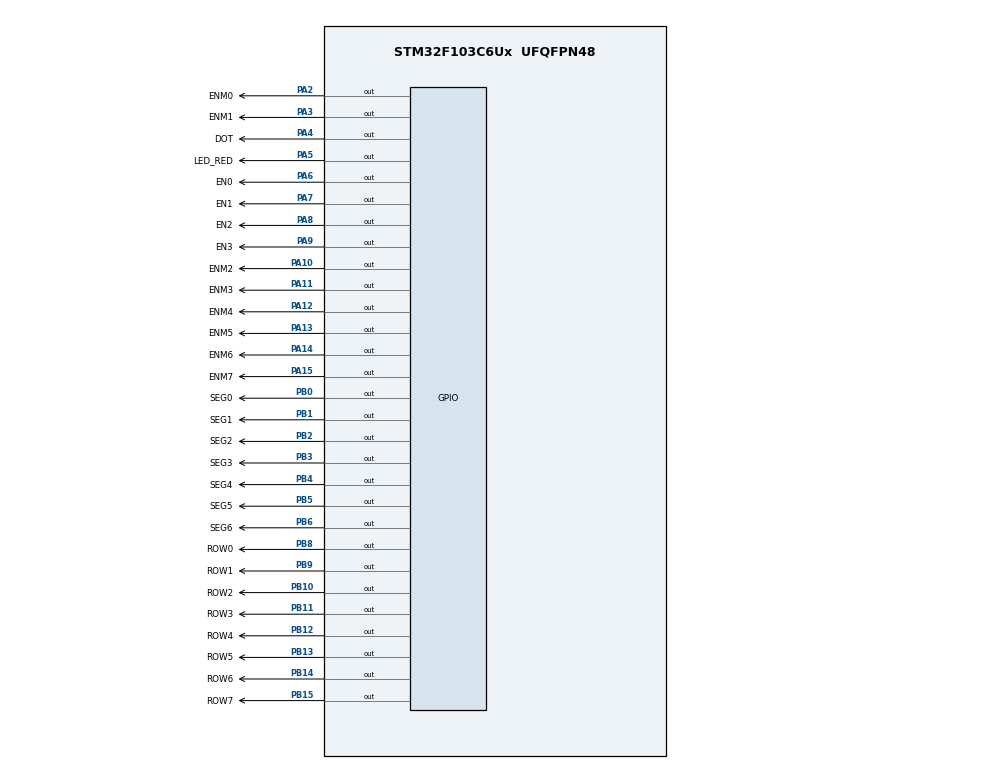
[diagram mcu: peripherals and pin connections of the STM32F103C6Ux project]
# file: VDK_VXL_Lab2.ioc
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Mcu.Family=STM32F1
Mcu.Name=STM32F103C6Ux
Mcu.Package=UFQFPN48
NVIC.PriorityGroup=NVIC_PRIORITYGROUP_4
NVIC.TIM2_IRQn=true\:0\:0\:false\:false\:true\:true\:true
PA10.GPIO_Label=ENM2
PA10.Signal=GPIO_Output
PA11.GPIO_Label=ENM3
PA11.Signal=GPIO_Output
PA12.GPIO_Label=ENM4
PA12.Signal=GPIO_Output
PA13.GPIO_Label=ENM5
PA13.Signal=GPIO_Output
PA14.GPIO_Label=ENM6
PA14.Signal=GPIO_Output
PA15.GPIO_Label=ENM7
PA15.Signal=GPIO_Output
PA2.GPIO_Label=ENM0
PA2.Signal=GPIO_Output
PA3.GPIO_Label=ENM1
PA3.Signal=GPIO_Output
PA4.GPIO_Label=DOT
PA4.Signal=GPIO_Output
PA5.GPIO_Label=LED_RED
PA5.Signal=GPIO_Output
PA6.GPIO_Label=EN0
PA6.Signal=GPIO_Output
PA7.GPIO_Label=EN1
PA7.Signal=GPIO_Output
PA8.GPIO_Label=EN2
PA8.Signal=GPIO_Output
PA9.GPIO_Label=EN3
PA9.Signal=GPIO_Output
PB0.GPIO_Label=SEG0
PB0.Signal=GPIO_Output
PB1.GPIO_Label=SEG1
PB1.Signal=GPIO_Output
PB10.GPIO_Label=ROW2
PB10.Signal=GPIO_Output
PB11.GPIO_Label=ROW3
PB11.Signal=GPIO_Output
PB12.GPIO_Label=ROW4
PB12.Signal=GPIO_Output
PB13.GPIO_Label=ROW5
PB13.Signal=GPIO_Output
PB14.GPIO_Label=ROW6
PB14.Signal=GPIO_Output
PB15.GPIO_Label=ROW7
PB15.Signal=GPIO_Output
PB2.GPIO_Label=SEG2
PB2.Signal=GPIO_Output
PB3.GPIO_Label=SEG3
PB3.Signal=GPIO_Output
PB4.GPIO_Label=SEG4
PB4.Signal=GPIO_Output
PB5.GPIO_Label=SEG5
PB5.Signal=GPIO_Output
PB6.GPIO_Label=SEG6
PB6.Signal=GPIO_Output
PB8.GPIO_Label=ROW0
PB8.Signal=GPIO_Output
PB9.GPIO_Label=ROW1
PB9.Signal=GPIO_Output
ProjectManager.HeapSize=0x200
ProjectManager.StackSize=0x400
ProjectManager.TargetToolchain=STM32CubeIDE
RCC.APB1Freq_Value=8000000
RCC.APB2Freq_Value=8000000
TIM2.Period=9 
TIM2.Prescaler=7999
VP_SYS_VS_ND.Mode=No_Debug
VP_TIM2_VS_ClockSourceINT.Mode=Internal
board=custom

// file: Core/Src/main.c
/* USER CODE BEGIN Header */
/**
  ******************************************************************************
  * @file           : main.c
  * @brief          : Main program body
  ******************************************************************************
  * @attention
  *
  * <h2><center>&copy; Copyright (c) 2025 STMicroelectronics.
  * All rights reserved.</center></h2>
  *
  * This software component is licensed by ST under BSD 3-Clause license,
  * the "License"; You may not use this file except in compliance with the
  * License. You may obtain a copy of the License at:
  *                        opensource.org/licenses/BSD-3-Clause
  *
  ******************************************************************************
  */
/* USER CODE END Header */
#include "main.h"

TIM_HandleTypeDef htim2;

void SystemClock_Config(void);
static void MX_GPIO_Init(void);
static void MX_TIM2_Init(void);

/* USER CODE BEGIN 0 */
void display7SEG(int num){
	if(num == 0){
		GPIOB -> ODR &= 0xff00;
		GPIOB -> ODR |= 0x0040;
	}
	if(num == 1){
		GPIOB -> ODR &= 0xff00;
		GPIOB -> ODR |= 0x0079;
	}
	if(num == 2){
		GPIOB -> ODR &= 0xff00;
		GPIOB -> ODR |= 0x0024;
	}
	if(num == 3){
		GPIOB -> ODR &= 0xff00;
		GPIOB -> ODR |= 0x0030;
	}
	if(num == 4){
		GPIOB -> ODR &= 0xff00;
		GPIOB -> ODR |= 0x0019;
	}
	if(num == 5){
		GPIOB -> ODR &= 0xff00;
		GPIOB -> ODR |= 0x0012;
	}
	if(num == 6){
		GPIOB -> ODR &= 0xff00;
		GPIOB -> ODR |= 0x0002;
	}
	if(num == 7){
		GPIOB -> ODR &= 0xff00;
		GPIOB -> ODR |= 0x0078;
	}
	if(num == 8){
		GPIOB -> ODR &= 0xff00;
		GPIOB -> ODR |= 0x0080;
	}
	if(num == 9){
		GPIOB -> ODR &= 0xff00;
		GPIOB -> ODR |= 0x0090;
	}
}
/* USER CODE END 0 */

int main(void)
{

  /* MCU Configuration--------------------------------------------------------*/

  /* Reset of all peripherals, Initializes the Flash interface and the Systick. */
  HAL_Init();

  /* Configure the system clock */
  SystemClock_Config();

  /* Initialize all configured peripherals */
  MX_GPIO_Init();
  MX_TIM2_Init();
  /* USER CODE BEGIN 2 */
  HAL_TIM_Base_Start_IT(&htim2);

  /* USER CODE END 2 */

  /* Infinite loop */
  /* USER CODE BEGIN WHILE */
  HAL_GPIO_WritePin(EN0_GPIO_Port, EN0_Pin, SET);
  HAL_GPIO_WritePin(EN1_GPIO_Port, EN1_Pin, SET);
  HAL_GPIO_WritePin(EN2_GPIO_Port, EN2_Pin, SET);
  HAL_GPIO_WritePin(EN3_GPIO_Port, EN3_Pin, SET);
  HAL_GPIO_WritePin(DOT_GPIO_Port, DOT_Pin, RESET);
  while (1)
  {
    /* USER CODE END WHILE */

  }
}

void SystemClock_Config(void)
{
  RCC_OscInitTypeDef RCC_OscInitStruct = {0};
  RCC_ClkInitTypeDef RCC_ClkInitStruct = {0};

  /** Initializes the RCC Oscillators according to the specified parameters
  * in the RCC_OscInitTypeDef structure.
  */
  RCC_OscInitStruct.OscillatorType = RCC_OSCILLATORTYPE_HSI;
  RCC_OscInitStruct.HSIState = RCC_HSI_ON;
  RCC_OscInitStruct.HSICalibrationValue = RCC_HSICALIBRATION_DEFAULT;
  RCC_OscInitStruct.PLL.PLLState = RCC_PLL_NONE;
  if (HAL_RCC_OscConfig(&RCC_OscInitStruct) != HAL_OK)
  {
    Error_Handler();
  }
  /** Initializes the CPU, AHB and APB buses clocks
  */
  RCC_ClkInitStruct.ClockType = RCC_CLOCKTYPE_HCLK|RCC_CLOCKTYPE_SYSCLK
                              |RCC_CLOCKTYPE_PCLK1|RCC_CLOCKTYPE_PCLK2;
  RCC_ClkInitStruct.SYSCLKSource = RCC_SYSCLKSOURCE_HSI;
  RCC_ClkInitStruct.AHBCLKDivider = RCC_SYSCLK_DIV1;
  RCC_ClkInitStruct.APB1CLKDivider = RCC_HCLK_DIV1;
  RCC_ClkInitStruct.APB2CLKDivider = RCC_HCLK_DIV1;

  if (HAL_RCC_ClockConfig(&RCC_ClkInitStruct, FLASH_LATENCY_0) != HAL_OK)
  {
    Error_Handler();
  }
}

static void MX_TIM2_Init(void)
{

  TIM_ClockConfigTypeDef sClockSourceConfig = {0};
  TIM_MasterConfigTypeDef sMasterConfig = {0};

  htim2.Instance = TIM2;
  htim2.Init.Prescaler = 7999;
  htim2.Init.CounterMode = TIM_COUNTERMODE_UP;
  htim2.Init.Period = 9 ;
  htim2.Init.ClockDivision = TIM_CLOCKDIVISION_DIV1;
  htim2.Init.AutoReloadPreload = TIM_AUTORELOAD_PRELOAD_DISABLE;
  if (HAL_TIM_Base_Init(&htim2) != HAL_OK)
  {
    Error_Handler();
  }
  sClockSourceConfig.ClockSource = TIM_CLOCKSOURCE_INTERNAL;
  if (HAL_TIM_ConfigClockSource(&htim2, &sClockSourceConfig) != HAL_OK)
  {
    Error_Handler();
  }
  sMasterConfig.MasterOutputTrigger = TIM_TRGO_RESET;
  sMasterConfig.MasterSlaveMode = TIM_MASTERSLAVEMODE_DISABLE;
  if (HAL_TIMEx_MasterConfigSynchronization(&htim2, &sMasterConfig) != HAL_OK)
  {
    Error_Handler();
  }

}

static void MX_GPIO_Init(void)
{
  GPIO_InitTypeDef GPIO_InitStruct = {0};

  /* GPIO Ports Clock Enable */
  __HAL_RCC_GPIOA_CLK_ENABLE();
  __HAL_RCC_GPIOB_CLK_ENABLE();

  /*Configure GPIO pin Output Level */
  HAL_GPIO_WritePin(GPIOA, DOT_Pin|LED_RED_Pin|EN0_Pin|EN1_Pin
                          |EN2_Pin|EN3_Pin, GPIO_PIN_RESET);

  /*Configure GPIO pin Output Level */
  HAL_GPIO_WritePin(GPIOB, SEG0_Pin|SEG1_Pin|SEG2_Pin|SEG3_Pin
                          |SEG4_Pin|SEG5_Pin|SEG6_Pin, GPIO_PIN_RESET);

  /*Configure GPIO pins : DOT_Pin LED_RED_Pin EN0_Pin EN1_Pin
                           EN2_Pin EN3_Pin */
  GPIO_InitStruct.Pin = DOT_Pin|LED_RED_Pin|EN0_Pin|EN1_Pin
                          |EN2_Pin|EN3_Pin;
  GPIO_InitStruct.Mode = GPIO_MODE_OUTPUT_PP;
  GPIO_InitStruct.Pull = GPIO_NOPULL;
  GPIO_InitStruct.Speed = GPIO_SPEED_FREQ_LOW;
  HAL_GPIO_Init(GPIOA, &GPIO_InitStruct);

  /*Configure GPIO pins : SEG0_Pin SEG1_Pin SEG2_Pin SEG3_Pin
                           SEG4_Pin SEG5_Pin SEG6_Pin */
  GPIO_InitStruct.Pin = SEG0_Pin|SEG1_Pin|SEG2_Pin|SEG3_Pin
                          |SEG4_Pin|SEG5_Pin|SEG6_Pin;
  GPIO_InitStruct.Mode = GPIO_MODE_OUTPUT_PP;
  GPIO_InitStruct.Pull = GPIO_NOPULL;
  GPIO_InitStruct.Speed = GPIO_SPEED_FREQ_LOW;
  HAL_GPIO_Init(GPIOB, &GPIO_InitStruct);

}

/* USER CODE BEGIN 4 */
//timer interrupt function is being call every 10ms

//initial counter for 7 segment led, the counter will count down

//every 10ms

int counter7SEG = 50;	//500 ms count down
int counterLed = 100;	//toggle DOT led every 1 second
int index_led = 0;	//7-segment leds index

void HAL_TIM_PeriodElapsedCallback(TIM_HandleTypeDef *htim){

	counter7SEG--; 	//decease the counter
	counterLed--;
	if(counter7SEG <= 0){ 	//check if the counter reach zero

		counter7SEG = 50; //reset the counter

		switch(index_led){ //turn on the led base on index_led

					case 0:	//turn on 7-segment led 1

						HAL_GPIO_WritePin(EN0_GPIO_Port, EN0_Pin, RESET);
						HAL_GPIO_WritePin(EN1_GPIO_Port, EN1_Pin, SET);
						HAL_GPIO_WritePin(EN2_GPIO_Port, EN2_Pin, SET);
						HAL_GPIO_WritePin(EN3_GPIO_Port, EN3_Pin, SET);
					    display7SEG(1);
					    index_led = 1;
						break;

					case 1: //turn on 7-segment led 2

						HAL_GPIO_WritePin(EN0_GPIO_Port, EN0_Pin, SET);
						HAL_GPIO_WritePin(EN1_GPIO_Port, EN1_Pin, RESET);
						HAL_GPIO_WritePin(EN2_GPIO_Port, EN2_Pin, SET);
						HAL_GPIO_WritePin(EN3_GPIO_Port, EN3_Pin, SET);
						display7SEG(2);
						index_led = 2;
						break;

					case 2:	//turn on 7-segment led 3

						HAL_GPIO_WritePin(EN0_GPIO_Port, EN0_Pin, SET);
						HAL_GPIO_WritePin(EN1_GPIO_Port, EN1_Pin, SET);
						HAL_GPIO_WritePin(EN2_GPIO_Port, EN2_Pin, RESET);
						HAL_GPIO_WritePin(EN3_GPIO_Port, EN3_Pin, SET);
						display7SEG(3);
						index_led = 3;
						break;

					case 3: 	//turn on 7-segment led 4

						HAL_GPIO_WritePin(EN0_GPIO_Port, EN0_Pin, SET);
						HAL_GPIO_WritePin(EN1_GPIO_Port, EN1_Pin, SET);
						HAL_GPIO_WritePin(EN2_GPIO_Port, EN2_Pin, SET);
						HAL_GPIO_WritePin(EN3_GPIO_Port, EN3_Pin, RESET);
						display7SEG(0);
						index_led = 0;
						break;

					default:
						break;
		}

	}
	//check if the dot counter reach zero

		if(counterLed <= 0){ //toggle DOT pin

			HAL_GPIO_TogglePin(DOT_GPIO_Port, DOT_Pin);
			counterLed = 100;	//reset the DOT counter
		}
}
/* USER CODE END 4 */

void Error_Handler(void)
{
  __disable_irq();
  while (1)
  {
  }
}

/************************ (C) COPYRIGHT STMicroelectronics *****END OF FILE****/
